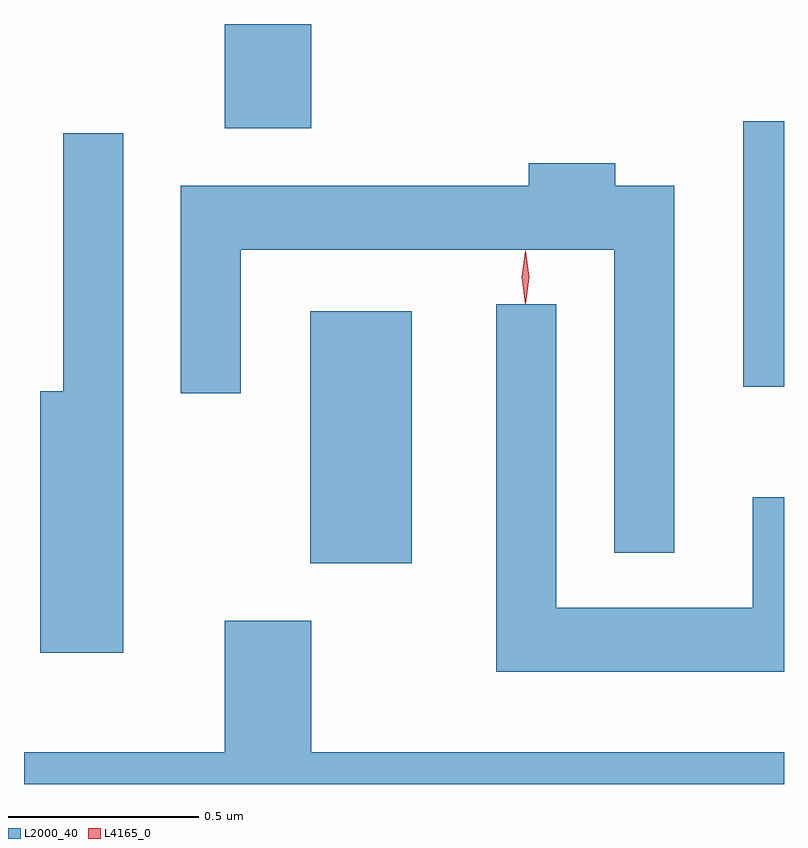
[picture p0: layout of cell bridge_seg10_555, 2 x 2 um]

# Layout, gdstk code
import gdstk
lib = gdstk.Library(unit=1e-6, precision=1e-09)
def R(c, l, rs):  # rectangles x0, y0, x1, y1
    for r in rs: c.add(gdstk.rectangle(r[:2], r[2:], *l))
def P(c, l, *ps):  # polygons
    for p in ps: c.add(gdstk.Polygon(p, *l))
L2000_40 = (2000, 40)
L4165_0 = (4165, 0)

bridge_seg10_555 = lib.new_cell('bridge_seg10_555')
R(bridge_seg10_555, L2000_40, [(767.676,2159.081,767.944,2159.744), (768.816,2159.546,768.923,2160.244), (767.451,2160.226,767.679,2160.5)])
P(bridge_seg10_555, L2000_40, [(767.184,2160.213),(767.026,2160.213),(767.026,2159.534),(766.966,2159.534),(766.966,2158.846),(767.184,2158.846)],
  [(768.634,2160.074),(768.479,2160.074),(768.479,2160.134),(768.251,2160.134),(768.251,2160.074),(767.336,2160.074),(767.336,2159.528),(767.494,2159.528),(767.494,2159.906),(768.476,2159.906),(768.476,2159.108),(768.634,2159.108)],
  [(768.923,2159.254),(768.841,2159.254),(768.841,2158.964),(768.324,2158.964),(768.324,2159.763),(768.166,2159.763),(768.166,2158.796),(768.923,2158.796)],
  [(768.923,2158.584),(767.679,2158.584),(767.679,2158.929),(767.451,2158.929),(767.451,2158.584),(766.923,2158.584),(766.923,2158.5),(768.923,2158.5)])
P(bridge_seg10_555, L4165_0, [(768.242,2159.764),(768.233,2159.833),(768.242,2159.902),(768.243,2159.903),(768.244,2159.902),(768.253,2159.833),(768.244,2159.764),(768.243,2159.764)],
  [(768.242,2159.767),(768.233,2159.834),(768.242,2159.9),(768.243,2159.9),(768.244,2159.9),(768.253,2159.834),(768.244,2159.767),(768.243,2159.767)])

lib.write_gds('bridge_seg10_555.gds')
